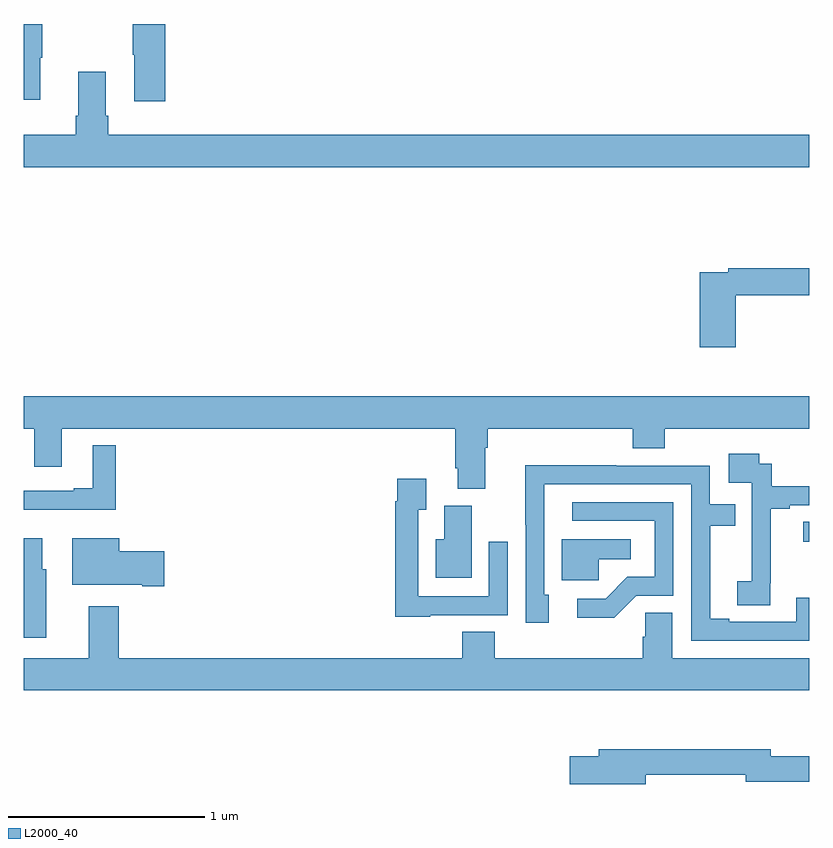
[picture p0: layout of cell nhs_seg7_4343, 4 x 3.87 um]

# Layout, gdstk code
import gdstk
lib = gdstk.Library(unit=1e-6, precision=1e-09)
def R(c, l, rs):  # rectangles x0, y0, x1, y1
    for r in rs: c.add(gdstk.rectangle(r[:2], r[2:], *l))
def P(c, l, *ps):  # polygons
    for p in ps: c.add(gdstk.Polygon(p, *l))
L2000_40 = (2000, 40)

nhs_seg7_4343 = lib.new_cell('nhs_seg7_4343')
R(nhs_seg7_4343, L2000_40, [(388.97,1009.363,389,1009.466)])
P(nhs_seg7_4343, L2000_40, [(385.721,1012),(385.555,1012),(385.555,1011.844),(385.562,1011.844),(385.562,1011.606),(385.721,1011.606)],
  [(385.085,1011.827),(385.096,1011.827),(385.096,1012),(385,1012),(385,1011.615),(385.085,1011.615)],
  [(389,1011.436),(385.43,1011.436),(385.43,1011.532),(385.417,1011.532),(385.417,1011.757),(385.277,1011.757),(385.277,1011.532),(385.265,1011.532),(385.265,1011.436),(385,1011.436),(385,1011.272),(389,1011.272)],
  [(388.625,1010.62),(389,1010.62),(389,1010.756),(388.588,1010.756),(388.588,1010.736),(388.442,1010.736),(388.442,1010.355),(388.625,1010.355)],
  [(387.349,1009.844),(387.362,1009.844),(387.362,1009.94),(388.1,1009.94),(388.1,1009.841),(388.265,1009.841),(388.265,1009.94),(389,1009.94),(389,1010.104),(385,1010.104),(385,1009.94),(385.055,1009.94),(385.055,1009.746),(385.195,1009.746),(385.195,1009.94),(387.197,1009.94),(387.197,1009.738),(387.209,1009.738),(387.209,1009.633),(387.349,1009.633)],
  [(385.469,1009.855),(385.352,1009.855),(385.352,1009.636),(385.256,1009.636),(385.256,1009.623),(385,1009.623),(385,1009.526),(385.469,1009.526)],
  [(388.802,1009.153),(388.804,1009.153),(388.804,1009.531),(388.9,1009.531),(388.9,1009.551),(389,1009.551),(389,1009.647),(388.808,1009.647),(388.808,1009.761),(388.746,1009.761),(388.746,1009.813),(388.59,1009.813),(388.59,1009.665),(388.707,1009.665),(388.707,1009.361),(388.706,1009.361),(388.706,1009.164),(388.632,1009.164),(388.632,1009.042),(388.802,1009.042)],
  [(389,1009.08),(388.932,1009.08),(388.932,1008.957),(388.591,1008.957),(388.591,1008.972),(388.495,1008.972),(388.495,1009.446),(388.622,1009.446),(388.622,1009.554),(388.494,1009.554),(388.494,1009.752),(388.016,1009.752),(388.016,1009.754),(387.554,1009.754),(387.554,1009.45),(387.555,1009.45),(387.555,1008.951),(387.673,1008.951),(387.673,1009.095),(387.651,1009.095),(387.651,1009.656),(388.398,1009.656),(388.398,1008.861),(389,1008.861)],
  [(387.069,1008.99),(387.465,1008.99),(387.465,1009.363),(387.369,1009.363),(387.369,1009.086),(387.009,1009.086),(387.009,1009.528),(387.049,1009.528),(387.049,1009.684),(386.901,1009.684),(386.901,1009.571),(386.893,1009.571),(386.893,1008.983),(387.069,1008.983)],
  [(388.119,1009.089),(388.308,1009.089),(388.308,1009.566),(387.792,1009.566),(387.792,1009.47),(388.212,1009.47),(388.212,1009.185),(388.074,1009.185),(387.963,1009.074),(387.819,1009.074),(387.819,1008.977),(388.006,1008.977)],
  [(387.28,1009.548),(387.14,1009.548),(387.14,1009.378),(387.098,1009.378),(387.098,1009.181),(387.28,1009.181)],
  [(385.717,1009.316),(385.486,1009.316),(385.486,1009.381),(385.247,1009.381),(385.247,1009.145),(385.604,1009.145),(385.604,1009.138),(385.717,1009.138)],
  [(385.114,1009.224),(385.096,1009.224),(385.096,1009.381),(385,1009.381),(385,1008.876),(385.114,1008.876)],
  [(387.927,1009.274),(388.09,1009.274),(388.09,1009.378),(387.74,1009.378),(387.74,1009.167),(387.927,1009.167)],
  [(389,1008.772),(388.303,1008.772),(388.303,1009.004),(388.164,1009.004),(388.164,1008.881),(388.151,1008.881),(388.151,1008.772),(387.398,1008.772),(387.398,1008.905),(387.233,1008.905),(387.233,1008.772),(385.484,1008.772),(385.484,1009.036),(385.331,1009.036),(385.331,1008.772),(385,1008.772),(385,1008.608),(389,1008.608)],
  [(388.168,1008.178),(388.676,1008.178),(388.676,1008.143),(389,1008.143),(389,1008.273),(388.804,1008.273),(388.804,1008.307),(387.929,1008.307),(387.929,1008.273),(387.78,1008.273),(387.78,1008.131),(388.168,1008.131)])

lib.write_gds('nhs_seg7_4343.gds')
